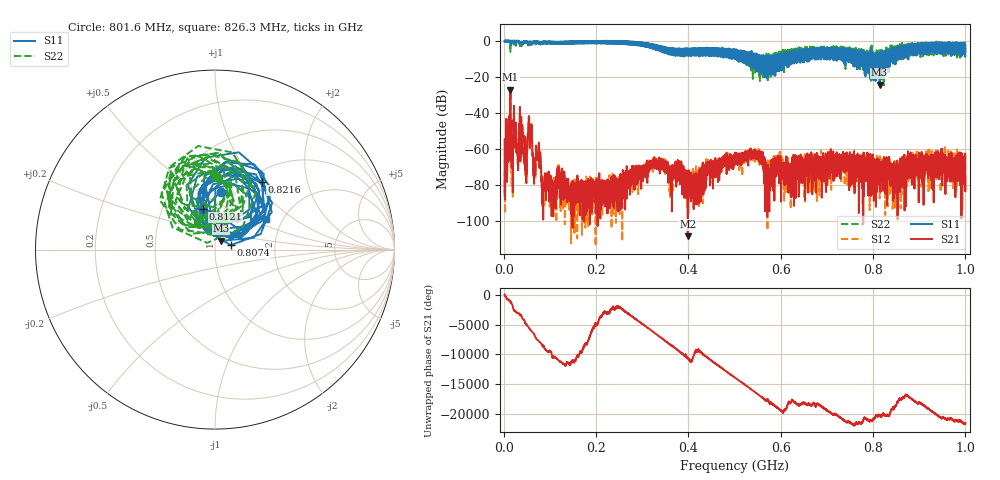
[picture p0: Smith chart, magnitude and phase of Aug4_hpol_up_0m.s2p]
!Keysight Technologies N9923A: A.12.45
!Date: Tuesday, 05 August 2025 20:00:03
!Timezone: (UTC+08:00) Kuala Lumpur, Singapore
!Model: N9923A
!Serial: MY61181427
!GPS Latitude:
!GPS Longitude:
!GPS TimeStamp: 0001-01-01 00:00:00Z
!GPS Seconds Since Last Read: 0
!CHECKSUM:1521414949
!Correction: S11(ON U)S21(ON U)S12(ON U)S22(ON U)
!S2P File: Measurements:S11,S21,S12,S22:
# Hz S DB R 50
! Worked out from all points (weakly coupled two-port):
!   4001 points, 2 MHz to 1 GHz, reference 50 ohm
!   highest |S21| = -27.12 dB at 14.47 MHz (marker M1); lowest = -108.7 dB at 398.7 MHz (marker M2)
!   lowest |S11| = -24.4 dB at 814.1 MHz (marker M3), VSWR 1.13, Z = 53.2 + j5.28 ohm
!   |S11| at or under -10 dB: 538.9024 MHz to 539.6892 MHz (786.7 kHz wide, 0.146 % of centre); 564.1116 MHz to 565.1416 MHz (1.03 MHz wide, 0.182 % of centre); 572.5539 MHz to 573.6728 MHz (1.119 MHz wide, 0.195 % of centre)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
!   |S22| runs from -24.8 to 0.1 dB; largest |S21 - S12| = 0.0027
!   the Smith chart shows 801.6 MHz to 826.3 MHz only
!   S11 on the Smith chart (normalised r, x): 801.6 MHz: 0.86, +0.62; 807.4 MHz: 1.19, +0.06; 812.1 MHz: 0.79, +0.38; 821.6 MHz: 1.14, +1.09; 826.3 MHz: 1.64, +0.63
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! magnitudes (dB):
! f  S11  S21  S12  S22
! 2 MHz  -0.1  -84.0  -87.1  -0.1
! 14.47 MHz  -0.5  -27.1  -27.6  -6.2
! 38.43 MHz  -0.5  -49.5  -49.0  -0.4
! 47.66 MHz  -1.1  -66.6  -70.1  -1.2
! 56.64 MHz  -0.6  -59.5  -59.8  -2.1
! 66.62 MHz  -0.6  -65.1  -65.2  -0.7
! 86.58 MHz  -1.1  -79.0  -83.7  -1.2
! 168.4 MHz  -1.4  -87.9  -86.8  -1.4
! 334.8 MHz  -4.4  -69.2  -67.9  -5.3
! 398.7 MHz  -4.6  -108.7  -77.9  -5.9
! 501 MHz  -7.0  -62.1  -65.8  -9.4
! 546.9 MHz  -7.5  -65.1  -61.0  -9.8
! 572.9 MHz  -14.6  -77.3  -71.2  -9.3
! 667.4 MHz  -10.1  -70.8  -74.4  -5.1
! 801.6 MHz  -9.8  -88.9  -65.4  -7.9
! 807.4 MHz  -20.8  -77.0  -67.9  -6.7
! 812.1 MHz  -12.6  -67.6  -72.7  -7.2
! 814.1 MHz  -24.4  -71.0  -81.3  -5.6
! 821.6 MHz  -6.8  -71.7  -68.3  -13.7
! 826.3 MHz  -9.6  -84.9  -97.0  -14.7
! 833.8 MHz  -6.2  -68.8  -71.2  -5.6
! 1 GHz  -2.8  -75.5  -74.7  -6.5
